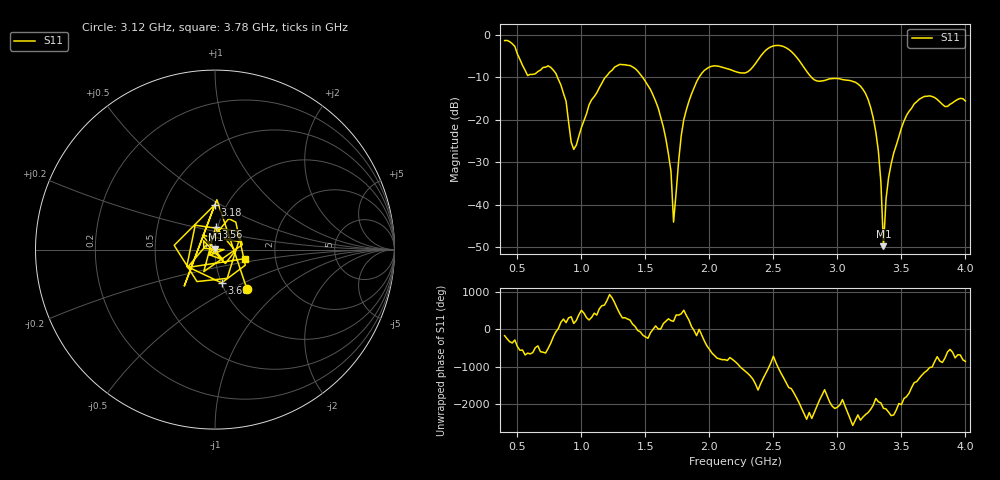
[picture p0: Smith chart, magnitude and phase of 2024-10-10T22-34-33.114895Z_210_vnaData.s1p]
! Created with skrf (http://scikit-rf.org).
# Hz S RI R 50.0
!freq ReS11 ImS11
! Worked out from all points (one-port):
!   181 points, 400 MHz to 4 GHz, reference 50 ohm
!   lowest |S11| = -49.8 dB at 3.36 GHz (marker M1), VSWR 1.01, Z = 50.2 + j0.236 ohm
!   |S11| at or under -10 dB: 813.7 MHz to 1.186 GHz (372.7 MHz wide, 37.3 % of centre); 1.479 GHz to 1.918 GHz (439.3 MHz wide, 25.9 % of centre); 2.798 GHz to end of sweep
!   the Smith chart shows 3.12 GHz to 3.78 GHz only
!   S11 on the Smith chart (normalised r, x): 3.12 GHz: 1.27, -0.61; 3.18 GHz: 0.88, +0.47; 3.56 GHz: 0.98, +0.25; 3.68 GHz: 1.00, -0.39; 3.78 GHz: 1.39, -0.14
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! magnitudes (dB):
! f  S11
! 400 MHz  -1.3
! 580 MHz  -9.5
! 760 MHz  -7.6
! 860 MHz  -13.8
! 940 MHz  -26.9
! 1.08 GHz  -15.2
! 1.3 GHz  -6.9
! 1.6 GHz  -17.2
! 1.7 GHz  -32.2
! 1.72 GHz  -44.1
! 1.76 GHz  -29.6
! 1.8 GHz  -19.9
! 1.92 GHz  -9.9
! 2.2 GHz  -8.6
! 2.66 GHz  -4.5
! 2.82 GHz  -10.6
! 3.1 GHz  -10.7
! 3.12 GHz  -10.9
! 3.18 GHz  -12.0
! 3.3 GHz  -22.8
! 3.34 GHz  -34.7
! 3.36 GHz  -49.8
! 3.38 GHz  -38.6
! 3.42 GHz  -30.4
! 3.56 GHz  -18.0
! 3.68 GHz  -14.5
! 3.78 GHz  -15.2
! 4 GHz  -15.5
